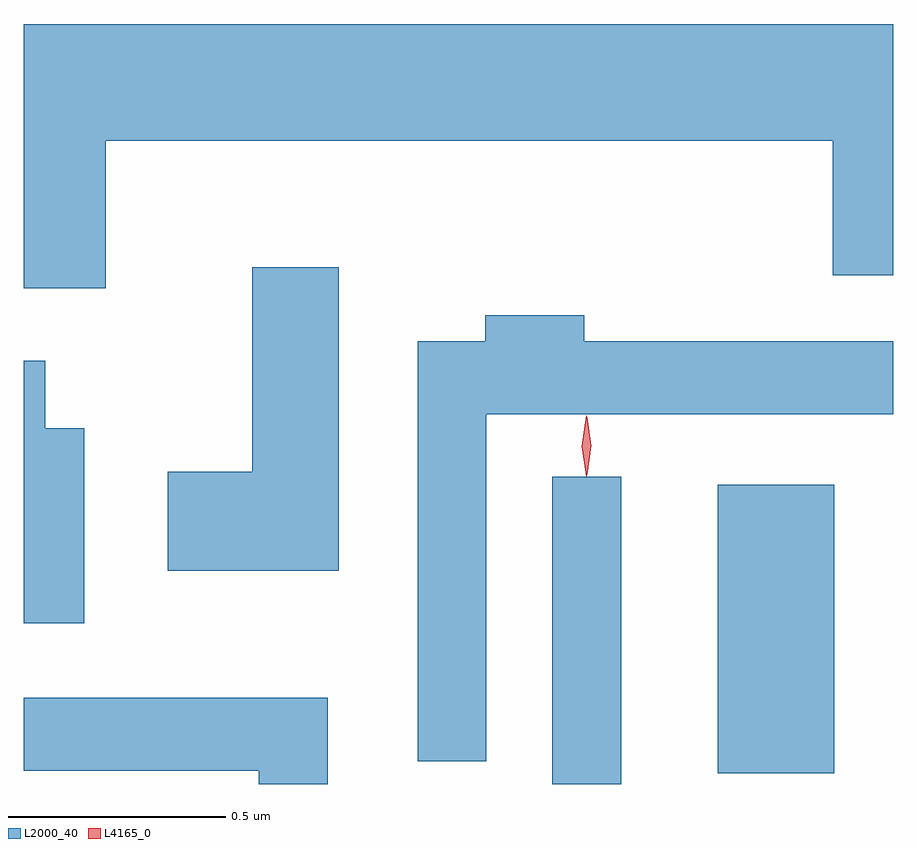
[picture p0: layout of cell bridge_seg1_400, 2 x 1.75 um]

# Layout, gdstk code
import gdstk
lib = gdstk.Library(unit=1e-6, precision=1e-09)
def R(c, l, rs):  # rectangles x0, y0, x1, y1
    for r in rs: c.add(gdstk.rectangle(r[:2], r[2:], *l))
def P(c, l, *ps):  # polygons
    for p in ps: c.add(gdstk.Polygon(p, *l))
L2000_40 = (2000, 40)
L4165_0 = (4165, 0)

bridge_seg1_400 = lib.new_cell('bridge_seg1_400')
R(bridge_seg1_400, L2000_40, [(576.366,942.496,576.524,943.203), (576.746,942.521,577.014,943.184)])
P(bridge_seg1_400, L2000_40, [(575.339,943.976),(577.011,943.976),(577.011,943.666),(577.15,943.666),(577.15,944.244),(575.15,944.244),(575.15,943.636),(575.339,943.636)],
  [(575.874,943.684),(575.676,943.684),(575.676,943.214),(575.481,943.214),(575.481,942.986),(575.874,942.986)],
  [(576.214,943.346),(577.15,943.346),(577.15,943.514),(576.439,943.514),(576.439,943.574),(576.211,943.574),(576.211,943.514),(576.056,943.514),(576.056,942.548),(576.214,942.548)],
  [(575.289,943.314),(575.199,943.314),(575.199,943.469),(575.15,943.469),(575.15,942.866),(575.289,942.866)],
  [(575.849,942.694),(575.15,942.694),(575.15,942.526),(575.691,942.526),(575.691,942.496),(575.849,942.496)])
P(bridge_seg1_400, L4165_0, [(576.444,943.204),(576.444,943.204),(576.434,943.273),(576.444,943.343),(576.444,943.343),(576.445,943.343),(576.454,943.273),(576.445,943.204)],
  [(576.445,943.207),(576.445,943.207),(576.435,943.274),(576.445,943.34),(576.445,943.341),(576.446,943.34),(576.455,943.274),(576.446,943.207)])

lib.write_gds('bridge_seg1_400.gds')
